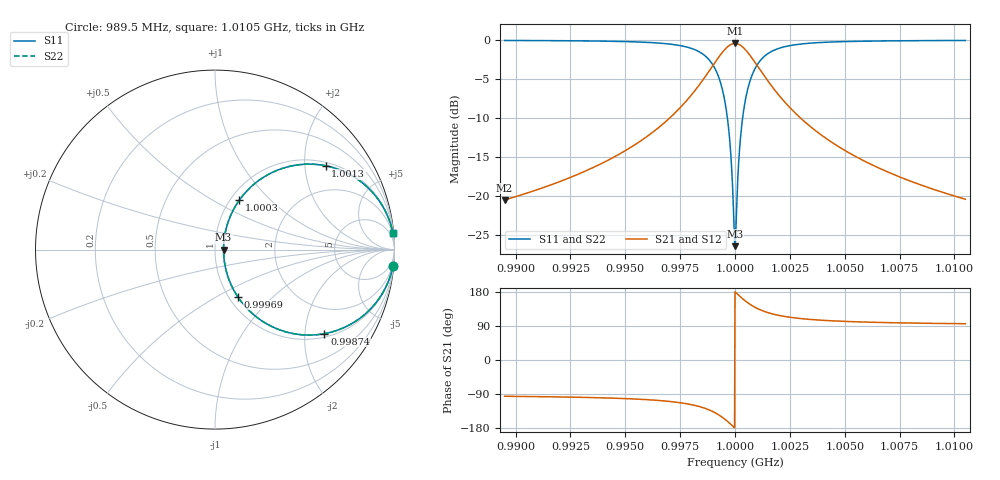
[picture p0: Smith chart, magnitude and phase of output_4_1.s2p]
! File generated for n1 = 4, n2 = 1
! b1 = 10.000000
! b2 = 10.000000
! Q0 = 10000.000000
! f0 = 1000000000.000000
! n = 1001
! rel_span = 10.000000
# Hz S RI R 50
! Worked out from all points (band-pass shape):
!   1001 points, 989.5 MHz to 1.0105 GHz, reference 50 ohm
!   highest |S21| = -0.42 dB at 1 GHz (marker M1); lowest = -20.5 dB at 989.5 MHz (marker M2)
!   |S21| within 3 dB of the highest: 998.953 MHz to 1.001048 GHz (2.095 MHz wide, 0.21 % of centre)
!   lowest |S11| = -26.4 dB at 1 GHz (marker M3), VSWR 1.10, Z = 55 + j0 ohm
!   |S11| at or under -10 dB: 999.6539 MHz to 1.000346 GHz (692.4 kHz wide, 0.0692 % of centre)
!   |S22| runs from -26.4 to 0.0 dB; largest |S21 - S12| = 0
!   S11 on the Smith chart (normalised r, x): 989.5 MHz: 1, -21; 998.74 MHz: 1.10, -2.52; 999.68 MHz: 1.10, -0.63; 1.0003 GHz: 1.10, +0.67; 1.0013 GHz: 1.10, +2.56; 1.0105 GHz: 1, +21
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9.895e8  0.9907 -0.0938  -0.00933 -0.0938  -0.00933 -0.0938  0.9907 -0.0938
9.93007e8  0.9791 -0.1394  -0.0209 -0.1394  -0.0209 -0.1394  0.9791 -0.1394
9.96514e8  0.921 -0.2626  -0.079 -0.2626  -0.079 -0.2626  0.921 -0.2626
9.97858e8  0.8158 -0.3762  -0.1842 -0.3762  -0.1842 -0.3762  0.8158 -0.3762
9.98341e8  0.7279 -0.4302  -0.2721 -0.4302  -0.2721 -0.4302  0.7279 -0.4302
9.9874e8  0.61 -0.4683  -0.39 -0.4683  -0.39 -0.4683  0.61 -0.4683
9.99328e8  0.3245 -0.4325  -0.6755 -0.4325  -0.6755 -0.4325  0.3245 -0.4325
9.99538e8  0.2022 -0.3511  -0.7978 -0.3511  -0.7978 -0.3511  0.2022 -0.3511
9.99685e8  0.1263 -0.2622  -0.8737 -0.2622  -0.8737 -0.2622  0.1263 -0.2622
9.9979e8  0.0843 -0.1832  -0.9157 -0.1832  -0.9157 -0.1832  0.0843 -0.1832
9.99937e8  0.051 -0.0569  -0.949 -0.0569  -0.949 -0.0569  0.051 -0.0569
1e9  0.0476 0  -0.9524 0  -0.9524 0  0.0476 0
1.000063e9  0.051 0.0569  -0.949 0.0569  -0.949 0.0569  0.051 0.0569
1.00021e9  0.0842 0.1831  -0.9158 0.1831  -0.9158 0.1831  0.0842 0.1831
1.000336e9  0.1361 0.2764  -0.8639 0.2764  -0.8639 0.2764  0.1361 0.2764
1.000504e9  0.2259 0.3715  -0.7741 0.3715  -0.7741 0.3715  0.2259 0.3715
1.000693e9  0.3365 0.4378  -0.6635 0.4378  -0.6635 0.4378  0.3365 0.4378
1.001281e9  0.617 0.467  -0.383 0.467  -0.383 0.467  0.617 0.467
1.002163e9  0.8181 0.3744  -0.1819 0.3744  -0.1819 0.3744  0.8181 0.3744
1.003507e9  0.9214 0.2621  -0.0786 0.2621  -0.0786 0.2621  0.9214 0.2621
1.007014e9  0.979 0.1399  -0.021 0.1399  -0.021 0.1399  0.979 0.1399
1.0105e9  0.9905 0.0948  -0.00953 0.0948  -0.00953 0.0948  0.9905 0.0948
